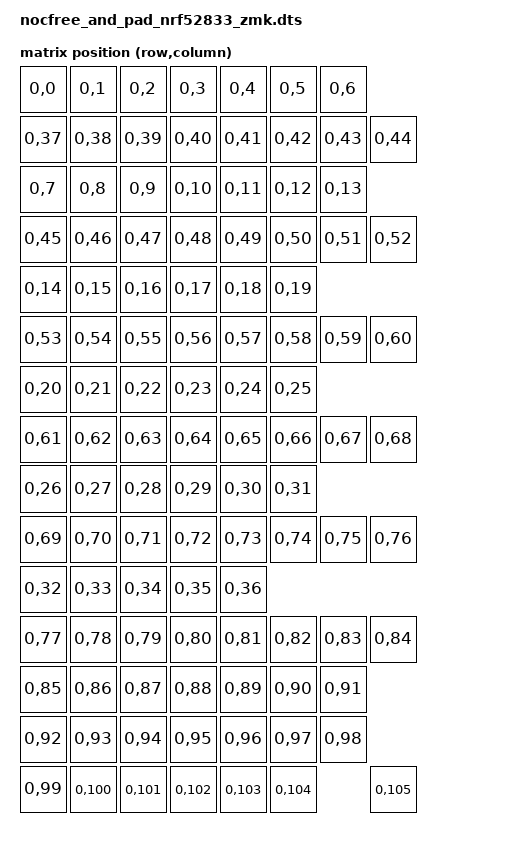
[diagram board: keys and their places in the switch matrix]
/*
 * Copyright (c) 2026 The NocFree ZMK Contributors
 *
 * SPDX-License-Identifier: MIT
 */

#include "nocfree_and.dtsi"

/ {
    chosen {
        /* The peripheral reports positions; Studio remains on the dongle. */
        /delete-property/ zmk,physical-layout;
        zmk,kscan = &kscan0;
    };

    kscan0: kscan {
        compatible = "nocfree,kscan-pca9555";
        status = "okay";

        /* Verified on the user's Pad: only 0x20 and 0x22 respond. */
        expanders = <&pca20>, <&pca22>;

        poll-period-ms = <10>;
        debounce-scan-period-ms = <3>;
        debounce-press-ms = <5>;
        debounce-release-ms = <5>;

        /*
         * Live wiring probe result, in physical reading order:
         *   rows 1-4 use 0x20 bits 0-14; bit 15 is unpopulated;
         *   rows 5-6 use 0x22 bits 0-5.
         */
        key-inputs =
            /* Num Lock, F3, F4, F7 */
            <&pca20 0>, <&pca20 1>, <&pca20 2>, <&pca20 3>,
            /* Esc, divide, multiply, subtract */
            <&pca20 4>, <&pca20 5>, <&pca20 6>, <&pca20 7>,
            /* 7, 8, 9, add */
            <&pca20 8>, <&pca20 9>, <&pca20 10>, <&pca20 11>,
            /* 4, 5, 6 */
            <&pca20 12>, <&pca20 13>, <&pca20 14>,
            /* 1, 2, 3, enter */
            <&pca22 0>, <&pca22 1>, <&pca22 2>, <&pca22 3>,
            /* 0, decimal */
            <&pca22 4>, <&pca22 5>;
    };
};

/*
 * Preserve the keyboard's positions 0-84 and append Pad positions 85-105.
 * The offset converts local Pad columns 0-20 into final keymap positions.
 */
&matrix_transform0 {
    /delete-property/ map;
    columns = <106>;
    col-offset = <85>;
    map = <
        /* NocFree & positions, unchanged from the stable 85-key map. */
        RC(0,0)  RC(0,1)  RC(0,2)  RC(0,3)  RC(0,4)  RC(0,5)  RC(0,6)
        RC(0,37) RC(0,38) RC(0,39) RC(0,40) RC(0,41) RC(0,42) RC(0,43) RC(0,44)
        RC(0,7)  RC(0,8)  RC(0,9)  RC(0,10) RC(0,11) RC(0,12) RC(0,13)
        RC(0,45) RC(0,46) RC(0,47) RC(0,48) RC(0,49) RC(0,50) RC(0,51) RC(0,52)
        RC(0,14) RC(0,15) RC(0,16) RC(0,17) RC(0,18) RC(0,19)
        RC(0,53) RC(0,54) RC(0,55) RC(0,56) RC(0,57) RC(0,58) RC(0,59) RC(0,60)
        RC(0,20) RC(0,21) RC(0,22) RC(0,23) RC(0,24) RC(0,25)
        RC(0,61) RC(0,62) RC(0,63) RC(0,64) RC(0,65) RC(0,66) RC(0,67) RC(0,68)
        RC(0,26) RC(0,27) RC(0,28) RC(0,29) RC(0,30) RC(0,31)
        RC(0,69) RC(0,70) RC(0,71) RC(0,72) RC(0,73) RC(0,74) RC(0,75) RC(0,76)
        RC(0,32) RC(0,33) RC(0,34) RC(0,35) RC(0,36)
        RC(0,77) RC(0,78) RC(0,79) RC(0,80) RC(0,81) RC(0,82) RC(0,83) RC(0,84)
        /* NocFree Pad positions. */
        RC(0,85) RC(0,86) RC(0,87) RC(0,88) RC(0,89) RC(0,90) RC(0,91)
        RC(0,92) RC(0,93) RC(0,94) RC(0,95) RC(0,96) RC(0,97) RC(0,98)
        RC(0,99) RC(0,100) RC(0,101) RC(0,102) RC(0,103) RC(0,104) RC(0,105)
    >;
};
